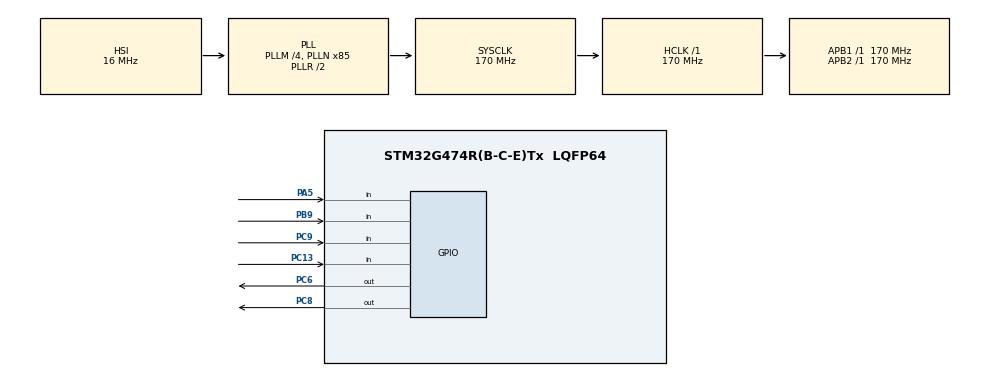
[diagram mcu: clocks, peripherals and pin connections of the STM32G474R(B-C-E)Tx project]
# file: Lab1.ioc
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Mcu.Family=STM32G4
Mcu.Name=STM32G474R(B-C-E)Tx
Mcu.Package=LQFP64
NUCLEO-G474RE.BUTTON=1
NUCLEO-G474RE.Bsp_Common_DEMO=true
NUCLEO-G474RE.LD2=true
NUCLEO-G474RE.VCP=true
NVIC.EXTI15_10_IRQn=true\:0\:0\:false\:false\:true\:false\:true\:true
NVIC.PriorityGroup=NVIC_PRIORITYGROUP_4
PA13.GPIO_Label=T_SWDIO
PA13.Signal=SYS_JTMS-SWDIO
PA14.GPIO_Label=T_SWCLK
PA14.Signal=SYS_JTCK-SWCLK
PA2.Signal=LPUART1_TX
PA3.Signal=LPUART1_RX
PA5.Signal=GPIO_Input
PB3.GPIO_Label=T_SWO
PB3.Signal=SYS_JTDO-SWO
PB9.GPIO_PuPd=GPIO_PULLUP
PB9.Signal=GPIO_Input
PC13.Signal=GPIO_Input
PC14-OSC32_IN.GPIO_Label=RCC_OSC32_IN
PC14-OSC32_IN.Signal=RCC_OSC32_IN
PC15-OSC32_OUT.GPIO_Label=RCC_OSC32_OUT
PC15-OSC32_OUT.Signal=RCC_OSC32_OUT
PC6.Signal=GPIO_Output
PC8.Signal=GPIO_Output
PC9.GPIO_PuPd=GPIO_PULLUP
PC9.Signal=GPIO_Input
PF0-OSC_IN.GPIO_Label=RCC_OSC_IN
PF0-OSC_IN.Signal=RCC_OSC_IN
PF1-OSC_OUT.GPIO_Label=RCC_OSC_OUT
PF1-OSC_OUT.Signal=RCC_OSC_OUT
ProjectManager.HeapSize=0x200
ProjectManager.StackSize=0x400
ProjectManager.TargetToolchain=STM32CubeIDE
RCC.ADC12Freq_Value=170000000
RCC.ADC345Freq_Value=170000000
RCC.AHBFreq_Value=170000000
RCC.APB1Freq_Value=170000000
RCC.APB1TimFreq_Value=170000000
RCC.APB2Freq_Value=170000000
RCC.APB2TimFreq_Value=170000000
RCC.CortexFreq_Value=170000000
RCC.EXTERNAL_CLOCK_VALUE=12288000
RCC.HCLKFreq_Value=170000000
RCC.HSE_VALUE=24000000
RCC.HSI48_VALUE=48000000
RCC.HSI_VALUE=16000000
RCC.LSE_VALUE=32768
RCC.PLLM=RCC_PLLM_DIV4
RCC.PLLN=85
RCC.RTCClockSelection=RCC_RTCCLKSOURCE_LSE
RCC.SYSCLKFreq_VALUE=170000000
RCC.SYSCLKSource=RCC_SYSCLKSOURCE_PLLCLK
RCC.USBFreq_Value=170000000
RCC.VCOOutputFreq_Value=340000000
VP_NUCLEO-G474RE_VS_BSP_COMMON.Mode=COMMON
VP_SYS_VS_DBSignals.Mode=DisableDeadBatterySignals
board=NUCLEO-G474RE

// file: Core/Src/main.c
/* USER CODE BEGIN Header */
/**
  ******************************************************************************
  * @file           : main.c
  * @brief          : Main program body
  ******************************************************************************
  * @attention
  *
  * Copyright (c) 2025 STMicroelectronics.
  * All rights reserved.
  *
  * This software is licensed under terms that can be found in the LICENSE file
  * in the root directory of this software component.
  * If no LICENSE file comes with this software, it is provided AS-IS.
  *
  ******************************************************************************
  */
/* USER CODE END Header */
#include "main.h"

COM_InitTypeDef BspCOMInit;
__IO uint32_t BspButtonState = BUTTON_RELEASED;

void SystemClock_Config(void);
static void MX_GPIO_Init(void);

int main(void)
{

  /* MCU Configuration--------------------------------------------------------*/

  /* Reset of all peripherals, Initializes the Flash interface and the Systick. */
  HAL_Init();

  /* Configure the system clock */
  SystemClock_Config();

  /* Initialize all configured peripherals */
  MX_GPIO_Init();

  /* Initialize led */
  BSP_LED_Init(LED_GREEN);

  /* Initialize USER push-button, will be used to trigger an interrupt each time it's pressed.*/
  BSP_PB_Init(BUTTON_USER, BUTTON_MODE_EXTI);

  /* Initialize COM1 port (115200, 8 bits (7-bit data + 1 stop bit), no parity */
  BspCOMInit.BaudRate   = 115200;
  BspCOMInit.WordLength = COM_WORDLENGTH_8B;
  BspCOMInit.StopBits   = COM_STOPBITS_1;
  BspCOMInit.Parity     = COM_PARITY_NONE;
  BspCOMInit.HwFlowCtl  = COM_HWCONTROL_NONE;
  if (BSP_COM_Init(COM1, &BspCOMInit) != BSP_ERROR_NONE)
  {
    Error_Handler();
  }

  /* USER CODE BEGIN BSP */

  /* -- Sample board code to send message over COM1 port ---- */
  printf("Welcome to STM32 world !\n\r");

  /* -- Sample board code to switch on led ---- */
  BSP_LED_On(LED_GREEN);

  /* USER CODE END BSP */

  /* Infinite loop */
  /* USER CODE BEGIN WHILE */
  while (1)
  {

  	  int buttonstate1=0;
  	  int buttonstate2=0;
int buttonstate5=0;

    /* -- Sample board code for User push-button in interrupt mode ---- */

  	  buttonstate1=HAL_GPIO_ReadPin(GPIOB, GPIO_PIN_9);
  	  buttonstate2=HAL_GPIO_ReadPin(GPIOC, GPIO_PIN_9);

  	 buttonstate5=HAL_GPIO_ReadPin(GPIOC, GPIO_PIN_13);
      /* -- Sample board code for User push-button in interrupt mode ---- */

  	if (buttonstate5 == 1)
  	      {

  	       HAL_GPIO_WritePin(GPIOA, GPIO_PIN_5, 1);
  	       HAL_Delay(550);
  	     HAL_GPIO_WritePin(GPIOA, GPIO_PIN_5, 0);
  	   HAL_Delay(550);
  	        /* ..... Perform your action ..... */
  	      }

      if (buttonstate1 == 0)
      {

       HAL_GPIO_WritePin(GPIOC, GPIO_PIN_8, 1);
       HAL_GPIO_WritePin(GPIOC, GPIO_PIN_6, 0);

        /* ..... Perform your action ..... */
      }

      if (buttonstate2 == 0)
          {

           HAL_GPIO_WritePin(GPIOC, GPIO_PIN_6, 1);
           HAL_GPIO_WritePin(GPIOC, GPIO_PIN_8, 0);

            /* ..... Perform your action ..... */
          }

      if (buttonstate2==1 && buttonstate1==1)
             {

          HAL_GPIO_WritePin(GPIOC, GPIO_PIN_6, 0);
             HAL_GPIO_WritePin(GPIOC, GPIO_PIN_8, 0);

            /* ..... Perform your action ..... */
             }

      if (buttonstate2==0 && buttonstate1==0)
                {

                 HAL_GPIO_WritePin(GPIOC, GPIO_PIN_6, 0);
                 HAL_GPIO_WritePin(GPIOC, GPIO_PIN_8, 0);

                  /* ..... Perform your action ..... */
                }
    /* USER CODE END WHILE */

  }
}

void SystemClock_Config(void)
{
  RCC_OscInitTypeDef RCC_OscInitStruct = {0};
  RCC_ClkInitTypeDef RCC_ClkInitStruct = {0};

  /** Configure the main internal regulator output voltage
  */
  HAL_PWREx_ControlVoltageScaling(PWR_REGULATOR_VOLTAGE_SCALE1_BOOST);

  /** Initializes the RCC Oscillators according to the specified parameters
  * in the RCC_OscInitTypeDef structure.
  */
  RCC_OscInitStruct.OscillatorType = RCC_OSCILLATORTYPE_HSI;
  RCC_OscInitStruct.HSIState = RCC_HSI_ON;
  RCC_OscInitStruct.HSICalibrationValue = RCC_HSICALIBRATION_DEFAULT;
  RCC_OscInitStruct.PLL.PLLState = RCC_PLL_ON;
  RCC_OscInitStruct.PLL.PLLSource = RCC_PLLSOURCE_HSI;
  RCC_OscInitStruct.PLL.PLLM = RCC_PLLM_DIV4;
  RCC_OscInitStruct.PLL.PLLN = 85;
  RCC_OscInitStruct.PLL.PLLP = RCC_PLLP_DIV2;
  RCC_OscInitStruct.PLL.PLLQ = RCC_PLLQ_DIV2;
  RCC_OscInitStruct.PLL.PLLR = RCC_PLLR_DIV2;
  if (HAL_RCC_OscConfig(&RCC_OscInitStruct) != HAL_OK)
  {
    Error_Handler();
  }

  /** Initializes the CPU, AHB and APB buses clocks
  */
  RCC_ClkInitStruct.ClockType = RCC_CLOCKTYPE_HCLK|RCC_CLOCKTYPE_SYSCLK
                              |RCC_CLOCKTYPE_PCLK1|RCC_CLOCKTYPE_PCLK2;
  RCC_ClkInitStruct.SYSCLKSource = RCC_SYSCLKSOURCE_PLLCLK;
  RCC_ClkInitStruct.AHBCLKDivider = RCC_SYSCLK_DIV1;
  RCC_ClkInitStruct.APB1CLKDivider = RCC_HCLK_DIV1;
  RCC_ClkInitStruct.APB2CLKDivider = RCC_HCLK_DIV1;

  if (HAL_RCC_ClockConfig(&RCC_ClkInitStruct, FLASH_LATENCY_4) != HAL_OK)
  {
    Error_Handler();
  }
}

static void MX_GPIO_Init(void)
{
  GPIO_InitTypeDef GPIO_InitStruct = {0};

  /* GPIO Ports Clock Enable */
  __HAL_RCC_GPIOC_CLK_ENABLE();
  __HAL_RCC_GPIOF_CLK_ENABLE();
  __HAL_RCC_GPIOA_CLK_ENABLE();
  __HAL_RCC_GPIOB_CLK_ENABLE();

  /*Configure GPIO pin Output Level */
  HAL_GPIO_WritePin(GPIOC, GPIO_PIN_6|GPIO_PIN_8, GPIO_PIN_RESET);

  /*Configure GPIO pins : PC6 PC8 */
  GPIO_InitStruct.Pin = GPIO_PIN_6|GPIO_PIN_8;
  GPIO_InitStruct.Mode = GPIO_MODE_OUTPUT_PP;
  GPIO_InitStruct.Pull = GPIO_NOPULL;
  GPIO_InitStruct.Speed = GPIO_SPEED_FREQ_LOW;
  HAL_GPIO_Init(GPIOC, &GPIO_InitStruct);

  /*Configure GPIO pin : PC9 */
  GPIO_InitStruct.Pin = GPIO_PIN_9;
  GPIO_InitStruct.Mode = GPIO_MODE_INPUT;
  GPIO_InitStruct.Pull = GPIO_PULLUP;
  HAL_GPIO_Init(GPIOC, &GPIO_InitStruct);

  /*Configure GPIO pin : PB9 */
  GPIO_InitStruct.Pin = GPIO_PIN_9;
  GPIO_InitStruct.Mode = GPIO_MODE_INPUT;
  GPIO_InitStruct.Pull = GPIO_PULLUP;
  HAL_GPIO_Init(GPIOB, &GPIO_InitStruct);

}

/**
  * @brief BSP Push Button callback
  * @param Button Specifies the pressed button
  * @retval None
  */
void BSP_PB_Callback(Button_TypeDef Button)
{
  if (Button == BUTTON_USER)
  {
    BspButtonState = BUTTON_PRESSED;
  }
}

void Error_Handler(void)
{
  __disable_irq();
  while (1)
  {
  }
}
